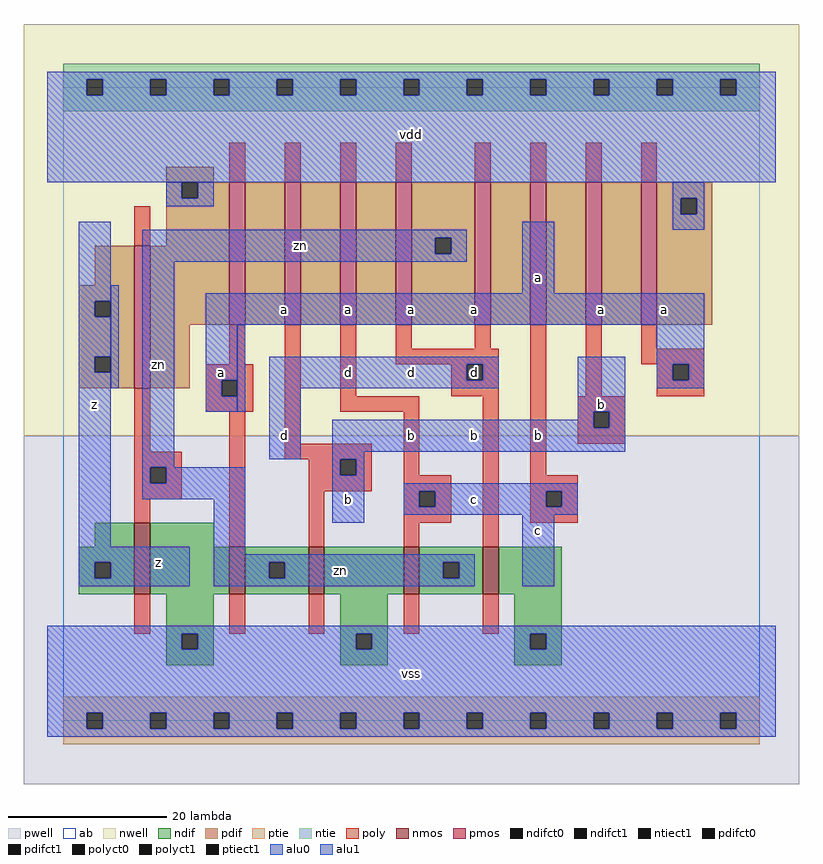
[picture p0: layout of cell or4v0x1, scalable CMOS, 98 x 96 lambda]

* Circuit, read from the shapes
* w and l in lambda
.subckt or4v0x1 a b c d vdd vss z zn
M1 vss zn z vss nfet w=9 l=2
M2 zn a vss vss nfet w=6 l=2
M3 vss b zn vss nfet w=6 l=2
M4 zn c vss vss nfet w=6 l=2
M5 vss d zn vss nfet w=6 l=2
M6 vdd zn z vdd pfet w=18 l=2
M7 n1 a vdd vdd pfet w=18 l=2
M8 n2 b n1 vdd pfet w=18 l=2
M9 n3 c n2 vdd pfet w=18 l=2
M10 zn d n3 vdd pfet w=18 l=2
M11 n4 d zn vdd pfet w=18 l=2
M12 n5 c n4 vdd pfet w=18 l=2
M13 n6 b n5 vdd pfet w=18 l=2
M14 vdd a n6 vdd pfet w=18 l=2
.ends

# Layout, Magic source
magic
tech scmos
<< ab >>
rect 0 0 88 80
<< nwell >>
rect -5 36 93 88
<< pwell >>
rect -5 -8 93 36
<< poly >>
rect 21 68 23 73
rect 28 68 30 73
rect 35 68 37 73
rect 42 68 44 73
rect 52 68 54 73
rect 59 68 61 73
rect 66 68 68 73
rect 73 68 75 73
rect 9 60 11 65
rect 21 45 23 50
rect 18 43 24 45
rect 9 34 11 42
rect 18 41 20 43
rect 22 41 24 43
rect 18 39 24 41
rect 9 32 15 34
rect 9 30 11 32
rect 13 30 15 32
rect 9 28 15 30
rect 9 25 11 28
rect 21 22 23 39
rect 28 35 30 50
rect 35 41 37 50
rect 42 47 44 50
rect 52 47 54 50
rect 42 45 55 47
rect 49 43 51 45
rect 53 43 55 45
rect 49 41 55 43
rect 35 39 45 41
rect 28 33 39 35
rect 31 31 35 33
rect 37 31 39 33
rect 31 29 39 31
rect 43 31 45 39
rect 43 29 49 31
rect 31 22 33 29
rect 43 27 45 29
rect 47 27 49 29
rect 43 25 49 27
rect 43 22 45 25
rect 53 22 55 41
rect 59 31 61 50
rect 66 41 68 50
rect 73 47 75 50
rect 73 45 81 47
rect 75 43 77 45
rect 79 43 81 45
rect 75 41 81 43
rect 65 39 71 41
rect 65 37 67 39
rect 69 37 71 39
rect 65 35 71 37
rect 59 29 65 31
rect 59 27 61 29
rect 63 27 65 29
rect 59 25 65 27
rect 9 11 11 16
rect 21 11 23 16
rect 31 11 33 16
rect 43 11 45 16
rect 53 11 55 16
<< ndif >>
rect 4 22 9 25
rect 2 20 9 22
rect 2 18 4 20
rect 6 18 9 20
rect 2 16 9 18
rect 11 22 19 25
rect 11 16 21 22
rect 23 20 31 22
rect 23 18 26 20
rect 28 18 31 20
rect 23 16 31 18
rect 33 16 43 22
rect 45 20 53 22
rect 45 18 48 20
rect 50 18 53 20
rect 45 16 53 18
rect 55 16 63 22
rect 13 11 19 16
rect 35 11 41 16
rect 57 11 63 16
rect 13 9 15 11
rect 17 9 19 11
rect 13 7 19 9
rect 35 9 37 11
rect 39 9 41 11
rect 35 7 41 9
rect 57 9 59 11
rect 61 9 63 11
rect 57 7 63 9
<< pdif >>
rect 13 68 19 70
rect 13 66 15 68
rect 17 66 21 68
rect 13 60 21 66
rect 4 55 9 60
rect 2 53 9 55
rect 2 51 4 53
rect 6 51 9 53
rect 2 46 9 51
rect 2 44 4 46
rect 6 44 9 46
rect 2 42 9 44
rect 11 50 21 60
rect 23 50 28 68
rect 30 50 35 68
rect 37 50 42 68
rect 44 61 52 68
rect 44 59 47 61
rect 49 59 52 61
rect 44 50 52 59
rect 54 50 59 68
rect 61 50 66 68
rect 68 50 73 68
rect 75 66 82 68
rect 75 64 78 66
rect 80 64 82 66
rect 75 50 82 64
rect 11 42 16 50
<< alu1 >>
rect -2 81 90 82
rect -2 79 3 81
rect 5 79 11 81
rect 13 79 19 81
rect 21 79 27 81
rect 29 79 35 81
rect 37 79 43 81
rect 45 79 51 81
rect 53 79 59 81
rect 61 79 67 81
rect 69 79 75 81
rect 77 79 83 81
rect 85 79 90 81
rect -2 68 90 79
rect 2 53 6 63
rect 2 51 4 53
rect 2 46 6 51
rect 2 44 4 46
rect 2 22 6 44
rect 58 54 62 63
rect 18 50 81 54
rect 18 43 22 50
rect 18 41 20 43
rect 18 39 22 41
rect 26 45 55 46
rect 26 43 51 45
rect 53 43 55 45
rect 26 42 55 43
rect 26 33 30 42
rect 65 39 71 46
rect 75 45 81 50
rect 75 43 77 45
rect 79 43 81 45
rect 75 42 81 43
rect 65 38 67 39
rect 34 37 67 38
rect 69 37 71 39
rect 34 34 71 37
rect 34 33 38 34
rect 2 20 16 22
rect 2 18 4 20
rect 6 18 16 20
rect 2 17 16 18
rect 34 31 35 33
rect 37 31 38 33
rect 34 25 38 31
rect 43 29 65 30
rect 43 27 45 29
rect 47 27 61 29
rect 63 27 65 29
rect 43 26 65 27
rect 58 17 62 26
rect -2 11 90 12
rect -2 9 15 11
rect 17 9 37 11
rect 39 9 59 11
rect 61 9 90 11
rect -2 1 90 9
rect -2 -1 3 1
rect 5 -1 11 1
rect 13 -1 19 1
rect 21 -1 27 1
rect 29 -1 35 1
rect 37 -1 43 1
rect 45 -1 51 1
rect 53 -1 59 1
rect 61 -1 67 1
rect 69 -1 75 1
rect 77 -1 83 1
rect 85 -1 90 1
rect -2 -2 90 -1
<< ptie >>
rect 0 1 88 3
rect 0 -1 3 1
rect 5 -1 11 1
rect 13 -1 19 1
rect 21 -1 27 1
rect 29 -1 35 1
rect 37 -1 43 1
rect 45 -1 51 1
rect 53 -1 59 1
rect 61 -1 67 1
rect 69 -1 75 1
rect 77 -1 83 1
rect 85 -1 88 1
rect 0 -3 88 -1
<< ntie >>
rect 0 81 88 83
rect 0 79 3 81
rect 5 79 11 81
rect 13 79 19 81
rect 21 79 27 81
rect 29 79 35 81
rect 37 79 43 81
rect 45 79 51 81
rect 53 79 59 81
rect 61 79 67 81
rect 69 79 75 81
rect 77 79 83 81
rect 85 79 88 81
rect 0 77 88 79
<< nmos >>
rect 9 16 11 25
rect 21 16 23 22
rect 31 16 33 22
rect 43 16 45 22
rect 53 16 55 22
<< pmos >>
rect 9 42 11 60
rect 21 50 23 68
rect 28 50 30 68
rect 35 50 37 68
rect 42 50 44 68
rect 52 50 54 68
rect 59 50 61 68
rect 66 50 68 68
rect 73 50 75 68
<< polyct0 >>
rect 11 30 13 32
<< polyct1 >>
rect 20 41 22 43
rect 51 43 53 45
rect 35 31 37 33
rect 45 27 47 29
rect 77 43 79 45
rect 67 37 69 39
rect 61 27 63 29
<< ndifct0 >>
rect 26 18 28 20
rect 48 18 50 20
<< ndifct1 >>
rect 4 18 6 20
rect 15 9 17 11
rect 37 9 39 11
rect 59 9 61 11
<< ntiect1 >>
rect 3 79 5 81
rect 11 79 13 81
rect 19 79 21 81
rect 27 79 29 81
rect 35 79 37 81
rect 43 79 45 81
rect 51 79 53 81
rect 59 79 61 81
rect 67 79 69 81
rect 75 79 77 81
rect 83 79 85 81
<< ptiect1 >>
rect 3 -1 5 1
rect 11 -1 13 1
rect 19 -1 21 1
rect 27 -1 29 1
rect 35 -1 37 1
rect 43 -1 45 1
rect 51 -1 53 1
rect 59 -1 61 1
rect 67 -1 69 1
rect 75 -1 77 1
rect 83 -1 85 1
<< pdifct0 >>
rect 15 66 17 68
rect 47 59 49 61
rect 78 64 80 66
<< pdifct1 >>
rect 4 51 6 53
rect 4 44 6 46
<< alu0 >>
rect 13 66 15 68
rect 17 66 19 68
rect 13 65 19 66
rect 77 66 81 68
rect 77 64 78 66
rect 80 64 81 66
rect 10 61 51 62
rect 10 59 47 61
rect 49 59 51 61
rect 10 58 51 59
rect 6 42 7 55
rect 10 32 14 58
rect 77 62 81 64
rect 22 39 23 50
rect 10 30 11 32
rect 13 30 23 32
rect 10 28 23 30
rect 19 21 23 28
rect 19 20 52 21
rect 19 18 26 20
rect 28 18 48 20
rect 50 18 52 20
rect 19 17 52 18
<< labels >>
rlabel alu0 12 45 12 45 6 zn
rlabel alu0 35 19 35 19 6 zn
rlabel alu0 30 60 30 60 6 zn
rlabel alu1 12 20 12 20 6 z
rlabel alu1 4 40 4 40 6 z
rlabel alu1 36 28 36 28 6 b
rlabel alu1 28 36 28 36 6 d
rlabel alu1 36 44 36 44 6 d
rlabel alu1 20 44 20 44 6 a
rlabel alu1 36 52 36 52 6 a
rlabel alu1 28 52 28 52 6 a
rlabel alu1 44 6 44 6 6 vss
rlabel alu1 44 36 44 36 6 b
rlabel alu1 60 36 60 36 6 b
rlabel alu1 52 36 52 36 6 b
rlabel alu1 60 24 60 24 6 c
rlabel alu1 52 28 52 28 6 c
rlabel polyct1 52 44 52 44 6 d
rlabel alu1 44 44 44 44 6 d
rlabel alu1 44 52 44 52 6 a
rlabel alu1 52 52 52 52 6 a
rlabel alu1 60 56 60 56 6 a
rlabel alu1 44 74 44 74 6 vdd
rlabel alu1 68 40 68 40 6 b
rlabel alu1 68 52 68 52 6 a
rlabel alu1 76 52 76 52 6 a
<< end >>
